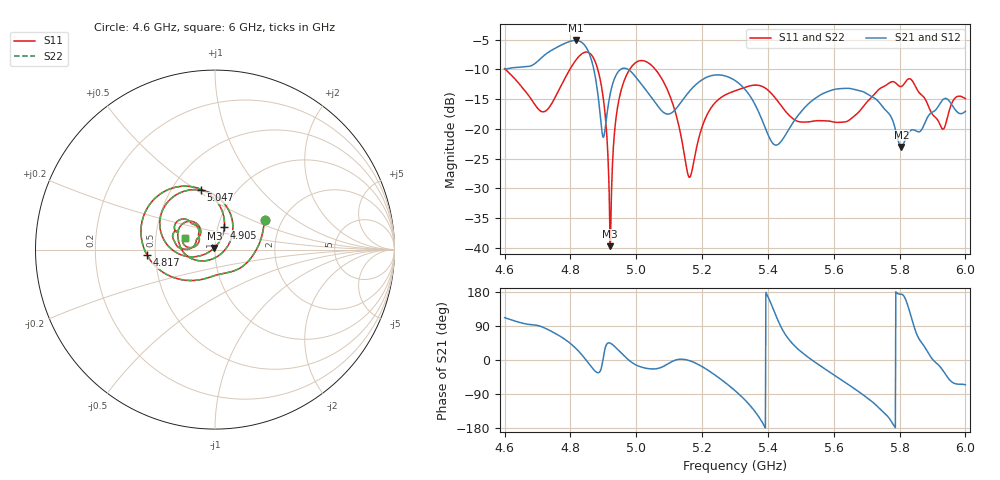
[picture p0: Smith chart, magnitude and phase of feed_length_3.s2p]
! TOUCHSTONE file generated by CST MICROWAVE STUDIO
! Date and time: Mon Dec  2 05:46:48 2024
! Project name: test_tuning.cst
! Parameters = {airCoaxOuterDiameter=3; chamferAngle=45; chamferWidth=24; connectorLength=10; drillingHoleDiameter=4.1; feedLength=40; flareDiameter=130; flareLength=70; gratingDistance=0; gratingGap=1.90274; outletLength=30; polarizerLength=134; probe1Diameter=1.3; probe1Distance=14; probe1Length=1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
! Header version: 2024
! Port assignment regex: !\s*Touchstone port\s*([0-9]+)\s*=\s*(CST MWS port|CST DES external port|CST DES block port)\s*(.+)\s* \(\"(.*)\"\)(\s*mode\s*([0-9]+))?.*
! Touchstone port assignment:
! Touchstone port 1 = CST MWS port 1 ("Input1")
! Touchstone port 2 = CST MWS port 2 ("Input2")
# GHz S MA R 50
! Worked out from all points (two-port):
!   1001 points, 4.6 GHz to 6 GHz, reference 50 ohm
!   highest |S21| = -5.14 dB at 4.816 GHz (marker M1); lowest = -23.0 dB at 5.805 GHz (marker M2)
!   |S21| within 3 dB of the highest: 4.71 GHz to 4.862 GHz (152.1 MHz wide, 3.18 % of centre)
!   lowest |S11| = -39.7 dB at 4.921 GHz (marker M3), VSWR 1.02, Z = 49.6 + j0.969 ohm
!   |S11| at or under -10 dB: 4.602 GHz to 4.798 GHz (195.8 MHz wide, 4.17 % of centre); 4.883 GHz to 4.98 GHz (97.04 MHz wide, 1.97 % of centre); 5.058 GHz to end of sweep
!   |S22| runs from -39.7 to -7.1 dB; largest |S21 - S12| = 1.6e-06
!   S11 on the Smith chart (normalised r, x): 4.6 GHz: 1.63, +0.59; 4.817 GHz: 0.45, -0.03; 4.905 GHz: 1.07, +0.27; 5.047 GHz: 0.69, +0.52; 6 GHz: 0.71, +0.10
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4.6  0.321 30.7  0.3168 111.7  0.3168 111.7  0.321 30.7
4.7176  0.1392 -78.3  0.4087 86.0  0.4087 86.0  0.1392 -78.3
4.8156  0.3752 -173.9  0.5533 31.4  0.5533 31.4  0.3752 -173.9
4.817  0.3797 -175.4  0.5532 30.2  0.5532 30.2  0.3797 -175.4
4.8338  0.4257 165.7  0.5341 14.5  0.5341 14.5  0.4257 165.7
4.8758  0.3636 107.7  0.2707 -30.0  0.2707 -30.0  0.3636 107.7
4.9052  0.1338 67.2  0.09882 30.8  0.09882 30.8  0.1338 67.2
4.9206  0.01035 109.5  0.1953 44.5  0.1953 44.5  0.01035 109.5
4.9388  0.1255 -161.3  0.2835 32.0  0.2835 32.0  0.1255 -161.3
4.9598  0.2384 -179.8  0.3229 13.7  0.3229 13.7  0.2384 -179.8
5.0466  0.3414 103.6  0.1831 -23.6  0.1831 -23.6  0.3414 103.6
5.0676  0.2914 86.9  0.1527 -21.9  0.1527 -21.9  0.2914 86.9
5.1614  0.03915 -52.4  0.2067 -1.6  0.2067 -1.6  0.03915 -52.4
5.2188  0.1374 -157.8  0.2748 -27.5  0.2748 -27.5  0.1374 -157.8
5.3  0.2087 166.7  0.2552 -80.8  0.2552 -80.8  0.2087 166.7
5.4218  0.1826 125.8  0.07323 122.7  0.07323 122.7  0.1826 125.8
5.5338  0.1156 147.3  0.1722 -0.1  0.1722 -0.1  0.1156 147.3
5.6626  0.1283 174.6  0.2146 -75.4  0.2146 -75.4  0.1283 174.6
5.7676  0.242 165.1  0.1345 -152.8  0.1345 -152.8  0.242 165.1
5.8054  0.227 154.6  0.07047 173.6  0.07047 173.6  0.227 154.6
5.9314  0.09948 155.4  0.176 -27.4  0.176 -27.4  0.09948 155.4
6  0.1798 158.1  0.1404 -65.6  0.1404 -65.6  0.1798 158.1
